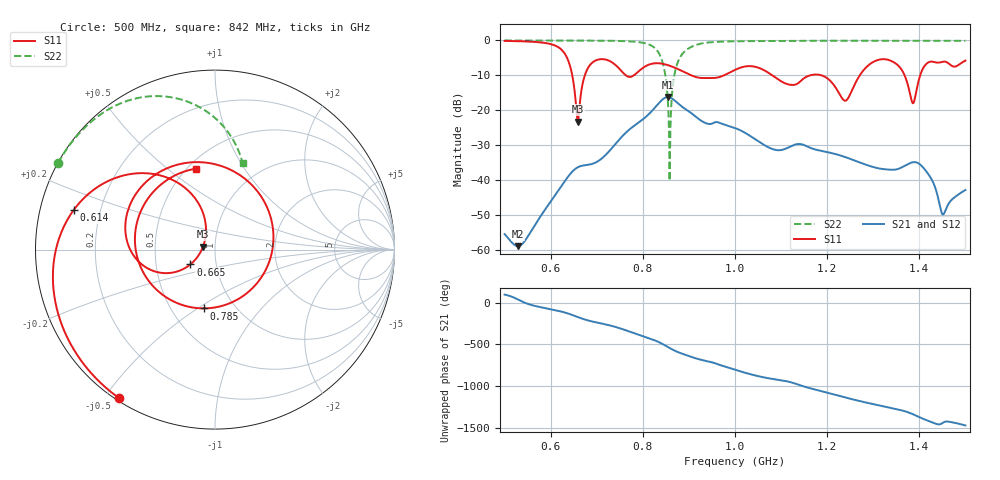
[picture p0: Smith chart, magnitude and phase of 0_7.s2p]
! TOUCHSTONE file generated by CST MICROWAVE STUDIO
! Date and time: Sat Oct 24 10:42:13 2020
! Project name: Scenario_1_Planar_Body_Tissue_Center.cst
! Parameters = {hfat=3; hmuscle=50; hskin=1.5; hgap=25; Wtissue=700; Ltissue=700; L_HA=400; MT=2.54; Rad_Dielectric=30; Rad_Lower=7.3; Rad_Upper=30; a_HA=580; a_WG=246; b_HA=500; b_WG=121; c_HA=0; c_WG=187; d_feed=85; dx1=276.92; h_feed=15; h_lower=18; h_upper=40}
! Header version: 2018
! Port assignment regex: !\s*Touchstone port\s*([0-9]+)\s*=\s*(CST MWS port|CST DS port)\s*([0-9]+|Zmin|Zmax)\s*\(\"(.*)\"\)(\s*mode\s*([0-9]+))?.*
! Touchstone port assignment:
! Touchstone port 1 = CST MWS port 1 ("")
! Touchstone port 2 = CST MWS port 2 ("")
# GHz S DB R 50
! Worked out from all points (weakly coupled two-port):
!   1003 points, 500 MHz to 1.5 GHz, reference 50 ohm
!   highest |S21| = -16.24 dB at 854 MHz (marker M1); lowest = -59.0 dB at 529 MHz (marker M2)
!   lowest |S11| = -23.3 dB at 659 MHz (marker M3), VSWR 1.15, Z = 43.7 + j1.47 ohm
!   |S11| at or under -10 dB: 905 MHz to 976.5 MHz (71.45 MHz wide, 7.59 % of centre); 1.081 GHz to 1.164 GHz (82.99 MHz wide, 7.4 % of centre); 1.187 GHz to 1.271 GHz (83.54 MHz wide, 6.8 % of centre) (the widest 3 of 6)
!   |S22| runs from -40.3 to 0.0 dB; largest |S21 - S12| = 9.1e-06
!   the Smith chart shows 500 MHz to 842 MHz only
!   S11 on the Smith chart (normalised r, x): 500 MHz: 0.01, -0.55; 614 MHz: 0.10, +0.14; 665 MHz: 0.75, -0.13; 785 MHz: 0.72, -0.53; 842 MHz: 0.55, +0.63
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0.5  -0.13 -122.8  -55.57 96.8  -55.57 96.8  -0.01 151.1
0.529  -0.22 -134.3  -59.03 37.7  -59.03 37.7  -0.01 149.2
0.614  -1.74 164.5  -43.56 -95.1  -43.56 -95.1  -0.02 143.0
0.659  -23.28 165.8  -36.38 -173.7  -36.38 -173.7  -0.04 139.1
0.665  -15.92 -149.0  -36.06 174.1  -36.06 174.1  -0.04 138.6
0.667  -14.08 -148.4  -35.99 170.2  -35.99 170.2  -0.04 138.4
0.732  -6.20 97.3  -31.03 81.3  -31.03 81.3  -0.11 130.6
0.785  -9.55 -100.5  -24.12 -13.5  -24.12 -13.5  -0.40 118.7
0.834  -6.55 122.1  -18.11 -112.1  -18.11 -112.1  -3.47 84.6
0.842  -6.68 103.3  -17.02 -134.1  -17.02 -134.1  -5.90 72.4
0.854  -7.08 75.4  -16.24 -171.6  -16.24 -171.6  -16.72 48.0
0.879  -8.39 17.9  -18.38 120.3  -18.38 120.3  -5.28 -172.9
0.923  -10.72 -83.7  -22.71 39.0  -22.71 39.0  -1.01 158.2
1  -8.45 65.6  -25.13 -84.5  -25.13 -84.5  -0.25 140.2
1.063  -8.54 -74.8  -29.98 -177.2  -29.98 -177.2  -0.16 133.2
1.106  -12.14 -177.9  -31.26 143.1  -31.26 143.1  -0.12 129.3
1.167  -9.90 38.0  -31.00 46.9  -31.00 46.9  -0.09 124.3
1.25  -15.43 147.8  -33.97 -72.9  -33.97 -72.9  -0.09 117.9
1.334  -5.63 -11.1  -37.07 -178.4  -37.07 -178.4  -0.08 111.6
1.386  -18.04 -19.4  -34.96 101.9  -34.96 101.9  -0.09 107.5
1.451  -6.10 -30.9  -49.94 -1.9  -49.94 -1.9  -0.12 102.3
1.5  -5.78 -38.8  -42.92 -33.4  -42.92 -33.4  -0.12 98.1
